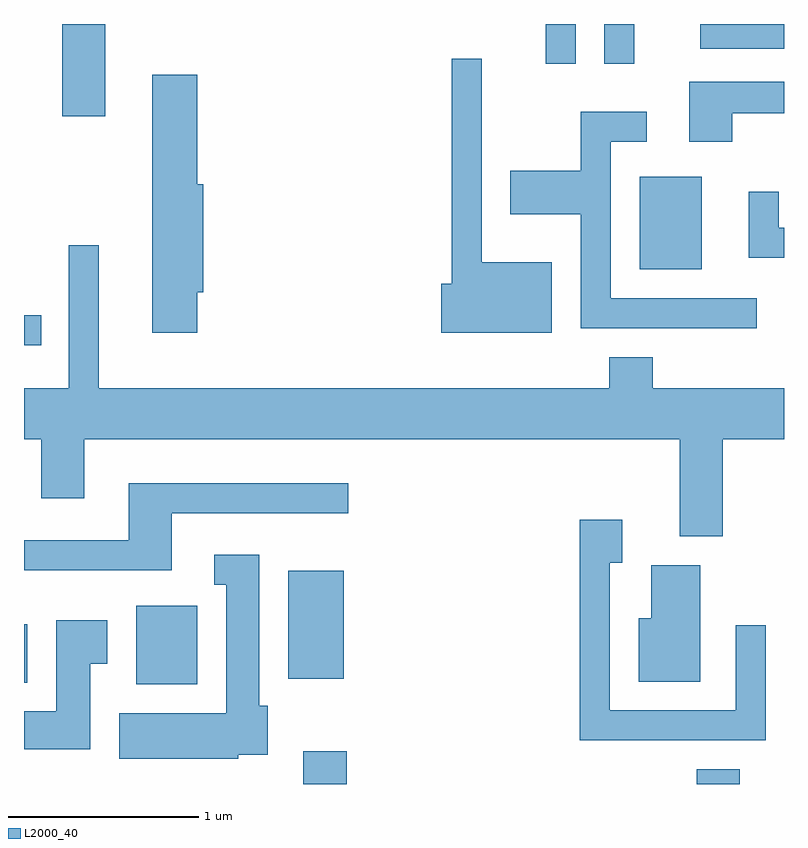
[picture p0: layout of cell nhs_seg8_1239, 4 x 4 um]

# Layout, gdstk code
import gdstk
lib = gdstk.Library(unit=1e-6, precision=1e-09)
def R(c, l, rs):  # rectangles x0, y0, x1, y1
    for r in rs: c.add(gdstk.rectangle(r[:2], r[2:], *l))
def P(c, l, *ps):  # polygons
    for p in ps: c.add(gdstk.Polygon(p, *l))
L2000_40 = (2000, 40)

nhs_seg8_1239 = lib.new_cell('nhs_seg8_1239')
R(nhs_seg8_1239, L2000_40, [(223.081,1872.342,223.309,1872.514), (225.151,1872.342,225.379,1872.419), (222.201,1872.866,222.524,1873.279), (221.611,1872.876,221.629,1873.184), (223.001,1872.896,223.294,1873.464), (221.611,1874.651,221.703,1874.809), (224.851,1875.051,225.179,1875.539), (221.811,1875.856,222.039,1876.342), (224.356,1876.133,224.514,1876.342), (224.666,1876.133,224.824,1876.342), (225.171,1876.211,225.611,1876.342)])
P(nhs_seg8_1239, L2000_40, [(224.389,1875.089),(224.019,1875.089),(224.019,1876.158),(223.861,1876.158),(223.861,1874.974),(223.806,1874.974),(223.806,1874.716),(224.389,1874.716)],
  [(222.524,1874.931),(222.554,1874.931),(222.554,1875.499),(222.524,1875.499),(222.524,1876.074),(222.286,1876.074),(222.286,1874.716),(222.524,1874.716)],
  [(225.339,1875.871),(225.611,1875.871),(225.611,1876.039),(225.111,1876.039),(225.111,1875.721),(225.339,1875.721)],
  [(225.468,1874.899),(224.699,1874.899),(224.699,1875.721),(224.888,1875.721),(224.888,1875.879),(224.541,1875.879),(224.541,1875.569),(224.171,1875.569),(224.171,1875.341),(224.541,1875.341),(224.541,1874.741),(225.468,1874.741)],
  [(225.611,1875.269),(225.584,1875.269),(225.584,1875.458),(225.426,1875.458),(225.426,1875.111),(225.611,1875.111)],
  [(225.289,1874.156),(225.611,1874.156),(225.611,1874.424),(224.919,1874.424),(224.919,1874.589),(224.691,1874.589),(224.691,1874.424),(222.004,1874.424),(222.004,1875.178),(221.846,1875.178),(221.846,1874.424),(221.611,1874.424),(221.611,1874.156),(221.701,1874.156),(221.701,1873.846),(221.929,1873.846),(221.929,1874.156),(225.061,1874.156),(225.061,1873.646),(225.289,1873.646)],
  [(222.389,1873.766),(223.318,1873.766),(223.318,1873.924),(222.161,1873.924),(222.161,1873.624),(221.611,1873.624),(221.611,1873.466),(222.389,1873.466)],
  [(225.514,1873.178),(225.356,1873.178),(225.356,1872.729),(224.694,1872.729),(224.694,1873.506),(224.759,1873.506),(224.759,1873.734),(224.536,1873.734),(224.536,1872.571),(225.514,1872.571)],
  [(222.739,1872.496),(222.894,1872.496),(222.894,1872.754),(222.849,1872.754),(222.849,1873.549),(222.613,1873.549),(222.613,1873.391),(222.676,1873.391),(222.676,1872.714),(222.111,1872.714),(222.111,1872.476),(222.739,1872.476)],
  [(225.169,1873.494),(224.911,1873.494),(224.911,1873.214),(224.846,1873.214),(224.846,1872.881),(225.169,1872.881)],
  [(221.959,1872.976),(222.049,1872.976),(222.049,1873.204),(221.781,1873.204),(221.781,1872.724),(221.611,1872.724),(221.611,1872.526),(221.959,1872.526)])

lib.write_gds('nhs_seg8_1239.gds')
